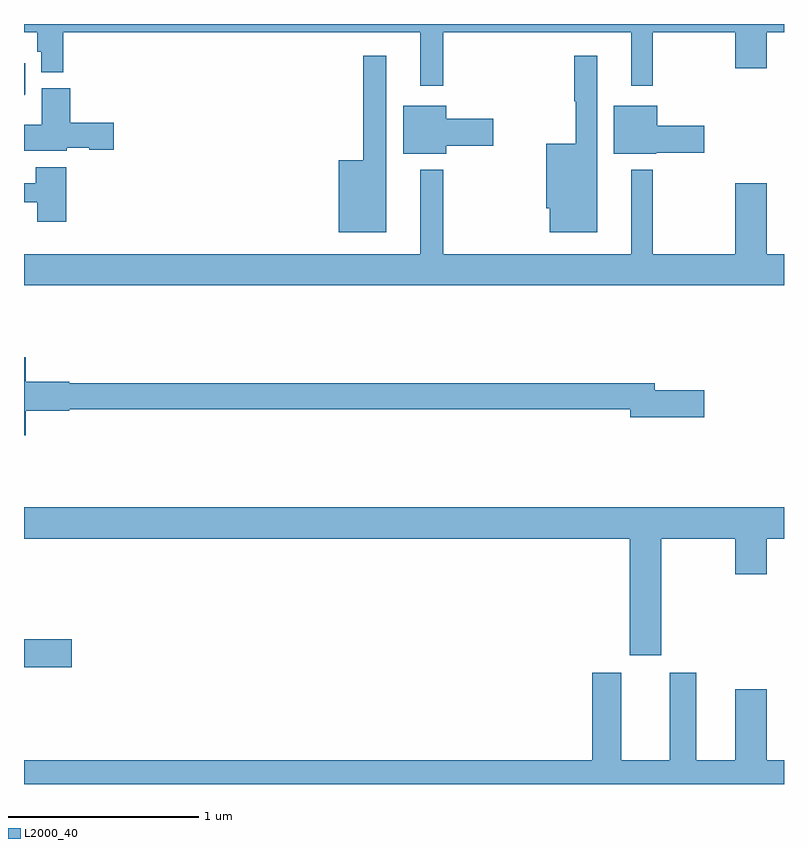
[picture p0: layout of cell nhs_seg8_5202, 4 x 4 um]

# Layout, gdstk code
import gdstk
lib = gdstk.Library(unit=1e-6, precision=1e-09)
def R(c, l, rs):  # rectangles x0, y0, x1, y1
    for r in rs: c.add(gdstk.rectangle(r[:2], r[2:], *l))
def P(c, l, *ps):  # polygons
    for p in ps: c.add(gdstk.Polygon(p, *l))
L2000_40 = (2000, 40)

nhs_seg8_5202 = lib.new_cell('nhs_seg8_5202')
R(nhs_seg8_5202, L2000_40, [(425,1090.514,425.251,1090.661)])
P(nhs_seg8_5202, L2000_40, [(428.195,1093.575),(428.309,1093.575),(428.309,1093.856),(428.744,1093.856),(428.744,1093.668),(428.908,1093.668),(428.908,1093.856),(429,1093.856),(429,1093.9),(425,1093.9),(425,1093.856),(425.071,1093.856),(425.071,1093.755),(425.091,1093.755),(425.091,1093.646),(425.207,1093.646),(425.207,1093.856),(427.085,1093.856),(427.085,1093.575),(427.207,1093.575),(427.207,1093.856),(428.195,1093.856)],
  [(428.017,1093.732),(427.896,1093.732),(427.896,1093.493),(427.903,1093.493),(427.903,1093.27),(427.748,1093.27),(427.748,1092.93),(427.766,1092.93),(427.766,1092.803),(428.017,1092.803)],
  [(426.907,1093.732),(426.786,1093.732),(426.786,1093.183),(426.656,1093.183),(426.656,1092.803),(426.907,1092.803)],
  [(425.006,1093.53),(425.006,1093.693),(425,1093.693),(425,1093.524)],
  [(425.226,1093.25),(425.343,1093.25),(425.343,1093.238),(425.473,1093.238),(425.473,1093.38),(425.243,1093.38),(425.243,1093.561),(425.093,1093.561),(425.093,1093.37),(425,1093.37),(425,1093.232),(425.226,1093.232)],
  [(428.328,1093.223),(428.581,1093.223),(428.581,1093.365),(428.332,1093.365),(428.332,1093.471),(428.105,1093.471),(428.105,1093.217),(428.328,1093.217)],
  [(427.222,1093.259),(427.471,1093.259),(427.471,1093.401),(427.222,1093.401),(427.222,1093.471),(426.995,1093.471),(426.995,1093.217),(427.222,1093.217)],
  [(425.222,1093.147),(425.062,1093.147),(425.062,1093.063),(425,1093.063),(425,1092.963),(425.069,1092.963),(425.069,1092.858),(425.222,1092.858)],
  [(429,1092.688),(428.908,1092.688),(428.908,1093.063),(428.744,1093.063),(428.744,1092.688),(428.309,1092.688),(428.309,1093.132),(428.195,1093.132),(428.195,1092.688),(427.207,1092.688),(427.207,1093.132),(427.085,1093.132),(427.085,1092.688),(425,1092.688),(425,1092.524),(429,1092.524)],
  [(425.008,1091.864),(425.238,1091.864),(425.238,1091.872),(428.192,1091.872),(428.192,1091.83),(428.581,1091.83),(428.581,1091.972),(428.32,1091.972),(428.32,1092.008),(425.238,1092.008),(425.238,1092.016),(425.008,1092.016),(425.008,1092.145),(425,1092.145),(425,1091.735),(425.008,1091.735)],
  [(428.353,1091.192),(428.744,1091.192),(428.744,1091.004),(428.908,1091.004),(428.908,1091.192),(429,1091.192),(429,1091.356),(425,1091.356),(425,1091.192),(428.189,1091.192),(428.189,1090.578),(428.353,1090.578)],
  [(429,1090.024),(428.908,1090.024),(428.908,1090.399),(428.744,1090.399),(428.744,1090.024),(428.539,1090.024),(428.539,1090.486),(428.399,1090.486),(428.399,1090.024),(428.143,1090.024),(428.143,1090.486),(427.991,1090.486),(427.991,1090.024),(425,1090.024),(425,1089.9),(429,1089.9)])

lib.write_gds('nhs_seg8_5202.gds')
